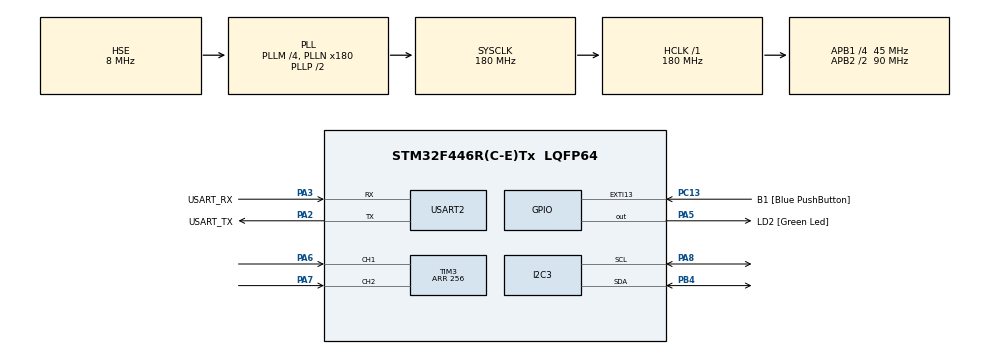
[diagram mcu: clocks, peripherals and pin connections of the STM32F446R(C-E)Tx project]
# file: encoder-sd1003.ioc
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I2C3.I2C_Mode=I2C_Fast
Mcu.Family=STM32F4
Mcu.Name=STM32F446R(C-E)Tx
Mcu.Package=LQFP64
NVIC.PriorityGroup=NVIC_PRIORITYGROUP_0
PA13.GPIO_Label=TMS
PA13.Mode=Serial_Wire
PA13.Signal=SYS_JTMS-SWDIO
PA14.GPIO_Label=TCK
PA14.Mode=Serial_Wire
PA14.Signal=SYS_JTCK-SWCLK
PA2.GPIO_Label=USART_TX
PA2.Mode=Asynchronous
PA2.Signal=USART2_TX
PA3.GPIO_Label=USART_RX
PA3.Mode=Asynchronous
PA3.Signal=USART2_RX
PA5.GPIO_Label=LD2 [Green Led]
PA5.Signal=GPIO_Output
PA6.Signal=S_TIM3_CH1
PA7.Signal=S_TIM3_CH2
PA8.Mode=I2C
PA8.Signal=I2C3_SCL
PB3.GPIO_Label=SWO
PB3.Signal=SYS_JTDO-SWO
PB4.Mode=I2C
PB4.Signal=I2C3_SDA
PC13.GPIO_Label=B1 [Blue PushButton]
PC13.GPIO_ModeDefaultEXTI=GPIO_MODE_IT_FALLING
PC13.Signal=GPXTI13
PC14-OSC32_IN.Mode=LSE-External-Oscillator
PC14-OSC32_IN.Signal=RCC_OSC32_IN
PC15-OSC32_OUT.Mode=LSE-External-Oscillator
PC15-OSC32_OUT.Signal=RCC_OSC32_OUT
PH0-OSC_IN.Mode=HSE-External-Oscillator
PH0-OSC_IN.Signal=RCC_OSC_IN
PH1-OSC_OUT.Mode=HSE-External-Oscillator
PH1-OSC_OUT.Signal=RCC_OSC_OUT
ProjectManager.HeapSize=0x200
ProjectManager.StackSize=0x400
ProjectManager.TargetToolchain=SW4STM32
RCC.48MHZClocksFreq_Value=84000000
RCC.AHBFreq_Value=180000000
RCC.APB1CLKDivider=RCC_HCLK_DIV4
RCC.APB1Freq_Value=45000000
RCC.APB1TimFreq_Value=90000000
RCC.APB2CLKDivider=RCC_HCLK_DIV2
RCC.APB2Freq_Value=90000000
RCC.APB2TimFreq_Value=180000000
RCC.CortexFreq_Value=180000000
RCC.FLatency-AdvancedSettings=FLASH_LATENCY_5
RCC.HCLKFreq_Value=180000000
RCC.HSE_VALUE=8000000
RCC.HSI_VALUE=16000000
RCC.PLLM=4
RCC.PLLN=180
RCC.PLLSourceVirtual=RCC_PLLSOURCE_HSE
RCC.SYSCLKFreq_VALUE=180000000
RCC.SYSCLKSource=RCC_SYSCLKSOURCE_PLLCLK
RCC.USBFreq_Value=180000000
RCC.VCOOutputFreq_Value=360000000
SH.S_TIM3_CH1.0=TIM3_CH1,Encoder_Interface
SH.S_TIM3_CH2.0=TIM3_CH2,Encoder_Interface
TIM3.EncoderMode=TIM_ENCODERMODE_TI12
TIM3.IC1Filter=2
TIM3.IC2Filter=0
TIM3.Period=256
USART2.VirtualMode=VM_ASYNC
board=NUCLEO-F446RE

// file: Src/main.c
/**
  ******************************************************************************
  * @file           : main.c
  * @brief          : Main program body
  ******************************************************************************
  ** This notice applies to any and all portions of this file
  * that are not between comment pairs USER CODE BEGIN and
  * USER CODE END. Other portions of this file, whether
  * inserted by the user or by software development tools
  * are owned by their respective copyright owners.
  *
  * COPYRIGHT(c) 2018 STMicroelectronics
  *
  * Redistribution and use in source and binary forms, with or without modification,
  * are permitted provided that the following conditions are met:
  *   1. Redistributions of source code must retain the above copyright notice,
  *      this list of conditions and the following disclaimer.
  *   2. Redistributions in binary form must reproduce the above copyright notice,
  *      this list of conditions and the following disclaimer in the documentation
  *      and/or other materials provided with the distribution.
  *   3. Neither the name of STMicroelectronics nor the names of its contributors
  *      may be used to endorse or promote products derived from this software
  *      without specific prior written permission.
  *
  * THIS SOFTWARE IS PROVIDED BY THE COPYRIGHT HOLDERS AND CONTRIBUTORS "AS IS"
  * AND ANY EXPRESS OR IMPLIED WARRANTIES, INCLUDING, BUT NOT LIMITED TO, THE
  * IMPLIED WARRANTIES OF MERCHANTABILITY AND FITNESS FOR A PARTICULAR PURPOSE ARE
  * DISCLAIMED. IN NO EVENT SHALL THE COPYRIGHT HOLDER OR CONTRIBUTORS BE LIABLE
  * FOR ANY DIRECT, INDIRECT, INCIDENTAL, SPECIAL, EXEMPLARY, OR CONSEQUENTIAL
  * DAMAGES (INCLUDING, BUT NOT LIMITED TO, PROCUREMENT OF SUBSTITUTE GOODS OR
  * SERVICES; LOSS OF USE, DATA, OR PROFITS; OR BUSINESS INTERRUPTION) HOWEVER
  * CAUSED AND ON ANY THEORY OF LIABILITY, WHETHER IN CONTRACT, STRICT LIABILITY,
  * OR TORT (INCLUDING NEGLIGENCE OR OTHERWISE) ARISING IN ANY WAY OUT OF THE USE
  * OF THIS SOFTWARE, EVEN IF ADVISED OF THE POSSIBILITY OF SUCH DAMAGE.
  *
  ******************************************************************************
  */
#include "main.h"
#include "stm32f4xx_hal.h"
#include "i2c.h"
#include "tim.h"
#include "usart.h"
#include "gpio.h"

/* USER CODE BEGIN Includes */
#include "ssd1306.h"
#include "fonts.h"

/* USER CODE END Includes */

/* USER CODE BEGIN PV */
/* Private variables ---------------------------------------------------------*/

/* USER CODE END PV */

void SystemClock_Config(void);

/* USER CODE BEGIN PFP */
/* Private function prototypes -----------------------------------------------*/

/* USER CODE END PFP */

int main(void)
{

  /* MCU Configuration----------------------------------------------------------*/

  /* Reset of all peripherals, Initializes the Flash interface and the Systick. */
  HAL_Init();

  /* Configure the system clock */
  SystemClock_Config();

  /* Initialize all configured peripherals */
  MX_GPIO_Init();
  MX_USART2_UART_Init();
  MX_I2C3_Init();
  MX_TIM3_Init();
  /* USER CODE BEGIN 2 */
  HAL_TIM_Encoder_Start_IT(&htim3, TIM_CHANNEL_ALL);
  ssd1306_Init(&hi2c3);
   HAL_Delay(1000);
   ssd1306_Fill(Black);
   ssd1306_UpdateScreen();

   HAL_Delay(1000);

  /* USER CODE END 2 */

  /* Infinite loop */
  /* USER CODE BEGIN WHILE */
   char o[50] ="";

   const uint32_t min_counter = 0;
   const uint32_t max_counter = 255;
   unit32_t counter = 0;
  while (1)
  {

	  if(htim3.Instance->CNT > max_counter) {
		  //&htim3->Instance->CNT = max_counter;

	  }

	  if(htim3.Instance->CNT < min_counter){
		//  &htim3->Instance->CNT = min_counter;
	  }

	  sprintf(o, "%d", htim3.Instance->CNT);
	  ssd1306_SetCursor(0,10);
	  ssd1306_WriteString(o,Font_7x10,White);

	  ssd1306_UpdateScreen();

  /* USER CODE END WHILE */

  }

}

void SystemClock_Config(void)
{

  RCC_OscInitTypeDef RCC_OscInitStruct;
  RCC_ClkInitTypeDef RCC_ClkInitStruct;

    /**Configure the main internal regulator output voltage
    */
  __HAL_RCC_PWR_CLK_ENABLE();

  __HAL_PWR_VOLTAGESCALING_CONFIG(PWR_REGULATOR_VOLTAGE_SCALE1);

    /**Initializes the CPU, AHB and APB busses clocks
    */
  RCC_OscInitStruct.OscillatorType = RCC_OSCILLATORTYPE_HSE;
  RCC_OscInitStruct.HSEState = RCC_HSE_ON;
  RCC_OscInitStruct.PLL.PLLState = RCC_PLL_ON;
  RCC_OscInitStruct.PLL.PLLSource = RCC_PLLSOURCE_HSE;
  RCC_OscInitStruct.PLL.PLLM = 4;
  RCC_OscInitStruct.PLL.PLLN = 180;
  RCC_OscInitStruct.PLL.PLLP = RCC_PLLP_DIV2;
  RCC_OscInitStruct.PLL.PLLQ = 2;
  RCC_OscInitStruct.PLL.PLLR = 2;
  if (HAL_RCC_OscConfig(&RCC_OscInitStruct) != HAL_OK)
  {
    _Error_Handler(__FILE__, __LINE__);
  }

    /**Activate the Over-Drive mode
    */
  if (HAL_PWREx_EnableOverDrive() != HAL_OK)
  {
    _Error_Handler(__FILE__, __LINE__);
  }

    /**Initializes the CPU, AHB and APB busses clocks
    */
  RCC_ClkInitStruct.ClockType = RCC_CLOCKTYPE_HCLK|RCC_CLOCKTYPE_SYSCLK
                              |RCC_CLOCKTYPE_PCLK1|RCC_CLOCKTYPE_PCLK2;
  RCC_ClkInitStruct.SYSCLKSource = RCC_SYSCLKSOURCE_PLLCLK;
  RCC_ClkInitStruct.AHBCLKDivider = RCC_SYSCLK_DIV1;
  RCC_ClkInitStruct.APB1CLKDivider = RCC_HCLK_DIV4;
  RCC_ClkInitStruct.APB2CLKDivider = RCC_HCLK_DIV2;

  if (HAL_RCC_ClockConfig(&RCC_ClkInitStruct, FLASH_LATENCY_5) != HAL_OK)
  {
    _Error_Handler(__FILE__, __LINE__);
  }

    /**Configure the Systick interrupt time
    */
  HAL_SYSTICK_Config(HAL_RCC_GetHCLKFreq()/1000);

    /**Configure the Systick
    */
  HAL_SYSTICK_CLKSourceConfig(SYSTICK_CLKSOURCE_HCLK);

  /* SysTick_IRQn interrupt configuration */
  HAL_NVIC_SetPriority(SysTick_IRQn, 0, 0);
}

void _Error_Handler(char *file, int line)
{
  while(1)
  {
  }
}

/************************ (C) COPYRIGHT STMicroelectronics *****END OF FILE****/
